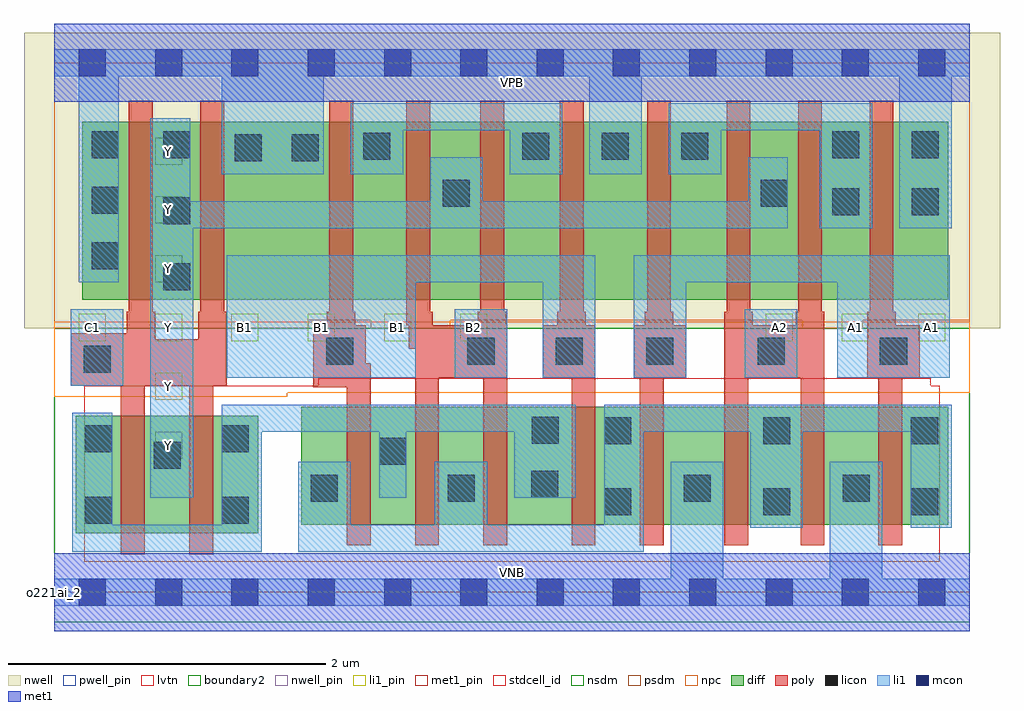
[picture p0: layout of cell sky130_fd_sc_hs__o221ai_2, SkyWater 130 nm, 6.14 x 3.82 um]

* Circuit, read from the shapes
.subckt sky130_fd_sc_hs__o221ai_2 A1 A2 B1 B2 C1 VGND VNB VPB VPWR Y
XM1 Y C1 n1 VNB sky130_fd_pr__nfet_01v8_lvt w=0.74 l=0.15 m=2
XM2 n1 B1 n2 VNB sky130_fd_pr__nfet_01v8_lvt w=0.74 l=0.15 m=2
XM3 n2 B2 n1 VNB sky130_fd_pr__nfet_01v8_lvt w=0.74 l=0.15 m=2
XM4 VGND A1 n2 VNB sky130_fd_pr__nfet_01v8_lvt w=0.74 l=0.15 m=2
XM5 n2 A2 VGND VNB sky130_fd_pr__nfet_01v8_lvt w=0.74 l=0.15 m=2
XM6 Y C1 VPWR VPB sky130_fd_pr__pfet_01v8 w=1.12 l=0.15 m=2
XM7 n3 B1 VPWR VPB sky130_fd_pr__pfet_01v8 w=1.12 l=0.15 m=2
XM8 Y B2 n3 VPB sky130_fd_pr__pfet_01v8 w=1.12 l=0.15 m=2
XM9 n4 A1 VPWR VPB sky130_fd_pr__pfet_01v8 w=1.12 l=0.15 m=2
XM10 Y A2 n4 VPB sky130_fd_pr__pfet_01v8 w=1.12 l=0.15 m=2
.ends

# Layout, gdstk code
import gdstk
lib = gdstk.Library(unit=1e-6, precision=1e-09)
def R(c, l, rs):  # rectangles x0, y0, x1, y1
    for r in rs: c.add(gdstk.rectangle(r[:2], r[2:], *l))
def A(c, l, x, y, w, h, nx, ny, dx, dy):  # array of equal rectangles
    R(c, l, [(x+i*dx, y+j*dy, x+i*dx+w, y+j*dy+h) for i in range(nx) for j in range(ny)])
def P(c, l, *ps):  # polygons
    for p in ps: c.add(gdstk.Polygon(p, *l))
nwell_pin = (64, 16)
nwell = (64, 20)
diff = (65, 20)
poly = (66, 20)
licon = (66, 44)
li1_pin = (67, 16)
li1 = (67, 20)
mcon = (67, 44)
met1_pin = (68, 16)
met1 = (68, 20)
stdcell_id = (81, 4)
nsdm = (93, 44)
psdm = (94, 20)
npc = (95, 20)
pwell_pin = (122, 16)
lvtn = (125, 44)
boundary2 = (236, 0)

sky130_fd_sc_hs__o221ai_ = lib.new_cell('sky130_fd_sc_hs__o221ai_2')
R(sky130_fd_sc_hs__o221ai_, nwell_pin, [(0,3.085,5.76,3.33)])
R(sky130_fd_sc_hs__o221ai_, nwell, [(-0.19,1.66,5.95,3.52)])
R(sky130_fd_sc_hs__o221ai_, diff, [(0.135,0.37,1.285,1.11), (1.555,0.425,5.625,1.165), (0.175,1.84,5.625,2.96)])
P(sky130_fd_sc_hs__o221ai_, poly, [(5.445,1.68),(5.295,1.68),(5.295,1.765),(5.28,1.765),(5.28,3.09),(5.13,3.09),(5.13,1.765),(5.115,1.765),(5.115,1.35),(5.185,1.35),(5.185,0.295),(5.335,0.295),(5.335,1.35),(5.445,1.35)],
  [(4.845,1.765),(4.83,1.765),(4.83,3.09),(4.68,3.09),(4.68,1.765),(4.665,1.765),(4.665,1.68),(4.395,1.68),(4.395,1.765),(4.38,1.765),(4.38,3.09),(4.23,3.09),(4.23,1.765),(4.215,1.765),(4.215,0.295),(4.365,0.295),(4.365,1.35),(4.695,1.35),(4.695,0.295),(4.845,0.295)],
  [(3.975,1.68),(3.895,1.68),(3.895,1.765),(3.88,1.765),(3.88,3.09),(3.73,3.09),(3.73,1.765),(3.715,1.765),(3.715,1.68),(3.645,1.68),(3.645,1.35),(3.685,1.35),(3.685,0.295),(3.835,0.295),(3.835,1.35),(3.975,1.35)],
  [(3.405,1.68),(3.345,1.68),(3.345,1.765),(3.33,1.765),(3.33,3.09),(3.18,3.09),(3.18,1.765),(3.165,1.765),(3.165,1.68),(3.075,1.68),(3.075,1.35),(3.255,1.35),(3.255,0.295),(3.405,0.295)],
  [(2.85,1.68),(2.845,1.68),(2.845,1.765),(2.83,1.765),(2.83,3.09),(2.68,3.09),(2.68,1.765),(2.665,1.765),(2.665,1.68),(2.38,1.68),(2.38,1.765),(2.365,1.765),(2.365,3.09),(2.215,3.09),(2.215,1.68),(2.23,1.68),(2.23,1.53),(2.27,1.53),(2.27,0.295),(2.42,0.295),(2.42,1.35),(2.7,1.35),(2.7,0.295),(2.85,0.295)],
  [(1.99,1.44),(1.96,1.44),(1.96,1.68),(1.895,1.68),(1.895,1.765),(1.88,1.765),(1.88,3.09),(1.73,3.09),(1.73,1.765),(1.715,1.765),(1.715,1.68),(1.63,1.68),(1.63,1.29),(1.84,1.29),(1.84,0.295),(1.99,0.295)],
  [(1.085,1.765),(1.07,1.765),(1.07,3.09),(0.92,3.09),(0.92,1.765),(0.905,1.765),(0.905,1.59),(0.635,1.59),(0.635,1.765),(0.62,1.765),(0.62,3.09),(0.47,3.09),(0.47,1.765),(0.455,1.765),(0.455,1.63),(0.105,1.63),(0.105,1.3),(0.42,1.3),(0.42,0.24),(0.57,0.24),(0.57,1.3),(0.85,1.3),(0.85,0.24),(1,0.24),(1,1.3),(1.085,1.3)])
A(sky130_fd_sc_hs__o221ai_, licon, 0.685, 1.9, 0.17, 0.17, 1, 3, 0, 0.415)
A(sky130_fd_sc_hs__o221ai_, licon, 0.235, 2.03, 0.17, 0.17, 1, 3, 0, 0.35)
A(sky130_fd_sc_hs__o221ai_, licon, 2.945, 2.72, 0.17, 0.17, 3, 1, 0.5, 0)
R(sky130_fd_sc_hs__o221ai_, licon, [(0.195,0.43,0.365,0.6), (1.055,0.43,1.225,0.6), (3.46,0.485,3.63,0.655), (4.46,0.485,4.63,0.655), (5.39,0.485,5.56,0.655), (1.615,0.57,1.785,0.74), (2.475,0.57,2.645,0.74), (3.96,0.57,4.13,0.74), (4.96,0.57,5.13,0.74), (3,0.595,3.17,0.765), (0.625,0.775,0.795,0.945), (2.045,0.8,2.215,0.97), (0.195,0.88,0.365,1.05), (1.055,0.88,1.225,1.05), (3.46,0.93,3.63,1.1), (4.46,0.93,4.63,1.1), (5.39,0.93,5.56,1.1), (3.005,0.935,3.175,1.105), (0.185,1.38,0.355,1.55), (1.71,1.43,1.88,1.6), (2.6,1.43,2.77,1.6), (3.155,1.43,3.325,1.6), (3.725,1.43,3.895,1.6), (4.425,1.43,4.595,1.6), (5.195,1.43,5.365,1.6), (4.895,2.37,5.065,2.54), (5.395,2.37,5.565,2.54), (2.445,2.425,2.615,2.595), (4.445,2.425,4.615,2.595), (1.135,2.71,1.305,2.88), (1.495,2.71,1.665,2.88), (1.945,2.72,2.115,2.89), (4.895,2.73,5.065,2.9), (5.395,2.73,5.565,2.9)])
A(sky130_fd_sc_hs__o221ai_, li1_pin, 0.155, 1.58, 0.17, 0.17, 6, 1, 0.48, 0)
A(sky130_fd_sc_hs__o221ai_, li1_pin, 4.475, 1.58, 0.17, 0.17, 3, 1, 0.48, 0)
A(sky130_fd_sc_hs__o221ai_, li1_pin, 0.635, 1.95, 0.17, 0.17, 1, 3, 0, 0.37)
R(sky130_fd_sc_hs__o221ai_, li1_pin, [(0.635,0.84,0.805,1.01), (0.635,1.21,0.805,1.38)])
R(sky130_fd_sc_hs__o221ai_, li1, [(0.105,1.3,0.435,1.78), (2.52,1.35,2.85,1.78), (4.345,1.35,4.675,1.78)])
P(sky130_fd_sc_hs__o221ai_, li1, [(0,-0.085),(0,0.085),(3.88,0.085),(3.88,0.82),(4.21,0.82),(4.21,0.085),(4.88,0.085),(4.88,0.82),(5.21,0.82),(5.21,0.085),(5.76,0.085),(5.76,-0.085)],
  [(0,3.245),(0,3.415),(5.76,3.415),(5.76,3.245),(5.645,3.245),(5.645,2.29),(5.315,2.29),(5.315,3.245),(3.695,3.245),(3.695,2.63),(3.365,2.63),(3.365,3.245),(1.695,3.245),(1.695,2.63),(1.055,2.63),(1.055,3.245),(0.405,3.245),(0.405,1.95),(0.155,1.95),(0.155,3.245)],
  [(0.875,0.595),(0.605,0.595),(0.605,2.98),(0.855,2.98),(0.855,2.46),(2.365,2.46),(2.365,2.735),(2.695,2.735),(2.695,2.46),(4.365,2.46),(4.365,2.735),(4.615,2.735),(4.615,2.29),(0.875,2.29)],
  [(3.405,2.12),(3.405,1.35),(3.075,1.35),(3.075,1.95),(2.275,1.95),(2.275,1.35),(1.085,1.35),(1.085,2.12)],
  [(3.645,2.12),(5.635,2.12),(5.635,1.35),(4.925,1.35),(4.925,1.95),(3.975,1.95),(3.975,1.35),(3.645,1.35)],
  [(2.865,2.905),(2.195,2.905),(2.195,2.63),(1.865,2.63),(1.865,3.075),(3.195,3.075),(3.195,2.63),(2.865,2.63)],
  [(2.895,1.01),(2.215,1.01),(2.215,0.595),(2.045,0.595),(2.045,1.01),(1.305,1.01),(1.305,0.255),(0.115,0.255),(0.115,1.13),(0.365,1.13),(0.365,0.425),(1.055,0.425),(1.055,1.18),(3.28,1.18),(3.28,0.595),(2.895,0.595)],
  [(2.395,0.425),(2.395,0.82),(2.725,0.82),(2.725,0.425),(3.46,0.425),(3.46,1.18),(5.645,1.18),(5.645,0.405),(5.39,0.405),(5.39,1.01),(4.71,1.01),(4.71,0.405),(4.38,0.405),(4.38,1.01),(3.71,1.01),(3.71,0.255),(1.535,0.255),(1.535,0.82),(1.865,0.82),(1.865,0.425)],
  [(4.815,2.29),(4.815,2.905),(4.195,2.905),(4.195,2.63),(3.865,2.63),(3.865,3.075),(5.145,3.075),(5.145,2.29)])
A(sky130_fd_sc_hs__o221ai_, mcon, 0.155, -0.085, 0.17, 0.17, 12, 2, 0.48, 3.33)
R(sky130_fd_sc_hs__o221ai_, met1_pin, [(0,0,5.76,0.245), (0,3.085,5.76,3.33)])
R(sky130_fd_sc_hs__o221ai_, met1, [(0,-0.245,5.76,0.245), (0,3.085,5.76,3.575)])
R(sky130_fd_sc_hs__o221ai_, stdcell_id, [(0,0,5.76,3.33)])
R(sky130_fd_sc_hs__o221ai_, nsdm, [(0,-0.19,5.76,1.66)])
P(sky130_fd_sc_hs__o221ai_, psdm, [(5.76,3.52),(0,3.52),(0,1.66),(1.6,1.66),(1.6,1.71),(1.99,1.71),(1.99,1.66),(2.49,1.66),(2.49,1.71),(4.705,1.71),(4.705,1.66),(5.085,1.66),(5.085,1.71),(5.76,1.71)])
P(sky130_fd_sc_hs__o221ai_, npc, [(5.76,1.7),(0,1.7),(0,1.23),(1.465,1.23),(1.465,1.255),(5.76,1.255)])
R(sky130_fd_sc_hs__o221ai_, pwell_pin, [(0,0,5.76,0.245)])
P(sky130_fd_sc_hs__o221ai_, lvtn, [(5.57,1.3),(5.515,1.3),(5.515,1.345),(1.66,1.345),(1.66,1.3),(0.19,1.3),(0.19,0.19),(5.57,0.19)])
R(sky130_fd_sc_hs__o221ai_, boundary2, [(0,0,5.76,3.33)])
sky130_fd_sc_hs__o221ai_.add(gdstk.Label('o221ai_2', (0,0), layer=83, texttype=44))
sky130_fd_sc_hs__o221ai_.add(gdstk.Label('VNB', (2.88,0.123), layer=64, texttype=59))
sky130_fd_sc_hs__o221ai_.add(gdstk.Label('VPB', (2.88,3.208), layer=64, texttype=5))
sky130_fd_sc_hs__o221ai_.add(gdstk.Label('VPWR', (2.88,3.208), layer=68, texttype=5))
sky130_fd_sc_hs__o221ai_.add(gdstk.Label('VGND', (2.88,0.123), layer=68, texttype=5))
sky130_fd_sc_hs__o221ai_.add(gdstk.Label('Y', (0.72,0.925), layer=67, texttype=5))
sky130_fd_sc_hs__o221ai_.add(gdstk.Label('Y', (0.72,1.295), layer=67, texttype=5))
sky130_fd_sc_hs__o221ai_.add(gdstk.Label('Y', (0.72,1.665), layer=67, texttype=5))
sky130_fd_sc_hs__o221ai_.add(gdstk.Label('Y', (0.72,2.035), layer=67, texttype=5))
sky130_fd_sc_hs__o221ai_.add(gdstk.Label('Y', (0.72,2.405), layer=67, texttype=5))
sky130_fd_sc_hs__o221ai_.add(gdstk.Label('Y', (0.72,2.775), layer=67, texttype=5))
sky130_fd_sc_hs__o221ai_.add(gdstk.Label('B1', (1.2,1.665), layer=67, texttype=5))
sky130_fd_sc_hs__o221ai_.add(gdstk.Label('B1', (1.68,1.665), layer=67, texttype=5))
sky130_fd_sc_hs__o221ai_.add(gdstk.Label('B1', (2.16,1.665), layer=67, texttype=5))
sky130_fd_sc_hs__o221ai_.add(gdstk.Label('A1', (5.04,1.665), layer=67, texttype=5))
sky130_fd_sc_hs__o221ai_.add(gdstk.Label('A1', (5.52,1.665), layer=67, texttype=5))
sky130_fd_sc_hs__o221ai_.add(gdstk.Label('C1', (0.24,1.665), layer=67, texttype=5))
sky130_fd_sc_hs__o221ai_.add(gdstk.Label('B2', (2.64,1.665), layer=67, texttype=5))
sky130_fd_sc_hs__o221ai_.add(gdstk.Label('A2', (4.56,1.665), layer=67, texttype=5))

lib.write_gds('sky130_fd_sc_hs__o221ai_2.gds')
